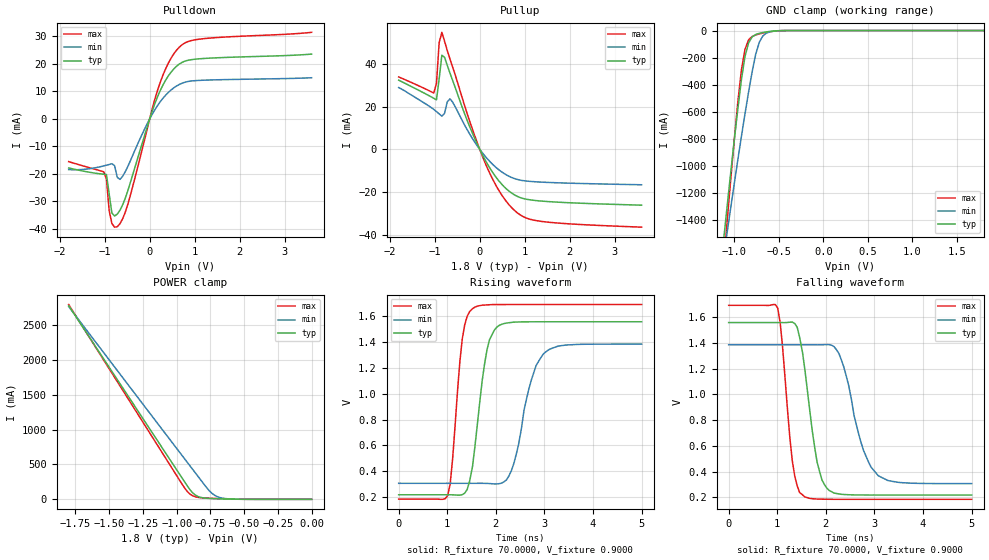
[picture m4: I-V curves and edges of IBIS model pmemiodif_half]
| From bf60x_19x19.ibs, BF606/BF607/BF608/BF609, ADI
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[Model]  pmemiodif_half
Model_type I/O
Polarity   Non-Inverting
Enable   Active-Low
Vinl =   0.6500V
Vinh =   1.1500V
Vmeas =  0.9000V
Cref =   5.0000pF
Rref =   70.0000
Vref =   0.9000V
C_comp   3.6776pF   4.0116pF   3.4337pF
[Temperature Range]   25.0000   0.1250k   0.0
[Voltage Range]   1.8000V   1.7000V   1.9000V
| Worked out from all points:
|   slope of the pulldown table from 0 to 0.27 V, typ, clamps not added: 23.5 ohm
|   slope of the pullup table from 0 to 0.27 V, typ, clamps not added: 26.3 ohm
|   GND clamp passes 1 mA (typ) near -0.49 V on its own axis
|   POWER clamp passes 1 mA (typ) near -0.53 V on its own axis
|   rising waveform, R_fixture 70.0000, V_fixture 0.9000: 20-80 % time 259ps typ, 372ps min, 191ps max; typ from 0.219 V to 1.56 V
|   falling waveform, R_fixture 70.0000, V_fixture 0.9000: 20-80 % time 282ps typ, 423ps min, 205ps max; typ from 1.56 V to 0.219 V
[Pulldown]
|Voltage   I(typ)   I(min)   I(max)
-1.8V     -17.81mA   -18.41mA   -15.52mA
-1.02V    -20.11mA   -17.06mA   -19.22mA
-960mV    -20.21mA   -16.82mA   -21.89mA
-900mV    -27.23mA   -16.56mA   -33.34mA
-840mV    -34.19mA   -16.27mA   -37.98mA
-780mV    -35.28mA   -16.95mA   -39.34mA
-720mV    -34.61mA   -21.22mA   -39.18mA
-480mV    -25.84mA   -17.1mA    -30.76mA
240mV     10.49mA    6.366mA    13.54mA
660mV     19.98mA    12.56mA    26.12mA
1.2V      21.99mA    14.1mA     29.2mA
3.6V      23.58mA    14.99mA    31.51mA
[Pullup]
|Voltage   I(typ)   I(min)   I(max)
-1.8V     32.34mA    28.88mA    33.85mA
-1.02V    23.85mA    18.64mA    26.32mA
-960mV    23.13mA    17.63mA    30.81mA
-900mV    32.98mA    16.53mA    49.91mA
-840mV    44.01mA    15.49mA    54.74mA
-660mV    35.66mA    23.59mA    42.27mA
-240mV    11.52mA    7.772mA    14.28mA
120mV     -4.955mA   -3.244mA   -6.328mA
420mV     -14.66mA   -9.536mA   -19.06mA
720mV     -20.68mA   -13.33mA   -27.57mA
1.32V     -24.2mA    -15.36mA   -33.65mA
3.6V      -26.22mA   -16.66mA   -36.51mA
[GND_clamp]
|Voltage   I(typ)   I(min)   I(max)
-1.8V     -6.07A     -4.897A    -7.407A
-1.12V    -1.546A    -1.671A    -1.719A
-1.08V    -1.294A    -1.488A    -1.405A
-1V       -805.7mA   -1.129A    -801.4mA
-960mV    -575.4mA   -952.7mA   -523.3mA
-920mV    -361.5mA   -780.6mA   -288.5mA
-880mV    -190.9mA   -613.7mA   -138.4mA
-840mV    -90.95mA   -454mA     -68.74mA
-800mV    -46.75mA   -305.2mA   -44mA
-720mV    -20.71mA   -87mA      -25.14mA
-600mV    -6.431mA   -9.607mA   -8.762mA
1.8V      90.74pA    38.42nA    69.76pA
[POWER_clamp]
|Voltage   I(typ)   I(min)   I(max)
-1.8V     2.775A     2.761A     2.791A
-960mV    306.4mA    628.6mA    218.5mA
-920mV    189.6mA    527.3mA    109.9mA
-900mV    135.2mA    476.7mA    73.19mA
-880mV    91.17mA    426mA      49.38mA
-840mV    39.16mA    324.6mA    27.86mA
-760mV    13.35mA    127mA      16mA
-720mV    9.728mA    59.79mA    12.42mA
-680mV    7.061mA    25.52mA    9.287mA
-540mV    1.16mA     1.976mA    1.701mA
0V        90.74pA    3.819nA    81.5pA
[Ramp]
| variable   typ   min   max
dV/dt_r  0.6316/0.3177n   0.4413/0.4751n   0.7626/0.2331n
dV/dt_f  0.6257/0.3957n   0.4176/0.5482n   0.7653/0.2944n
R_load = 50.0000
[Rising Waveform]
R_fixture= 70.0000
V_fixture= 0.9000
V_fixture_min= 0.8500
V_fixture_max= 0.9500
L_fixture= 0.0H
C_fixture= 0.0F
|time   V(typ)   V(min)   V(max)
0s        218.7mV    307.3mV    185.4mV
1.01ns    218.8mV    307.3mV    214.1mV
1.31ns    219.9mV    307.3mV    1.427V
1.52ns    438.4mV    307.3mV    1.658V
1.82ns    1.344V     306.6mV    1.688V
2.02ns    1.515V     302.9mV    1.69V
2.32ns    1.552V     404.9mV    1.69V
2.68ns    1.557V     1.038V     1.69V
2.98ns    1.557V     1.31V      1.691V
5ns       1.557V     1.384V     1.691V
[Falling Waveform]
R_fixture= 70.0000
V_fixture= 0.9000
V_fixture_min= 0.8500
V_fixture_max= 0.9500
L_fixture= 0.0H
C_fixture= 0.0F
|time   V(typ)   V(min)   V(max)
0s        1.557V     1.385V     1.691V
1.01ns    1.557V     1.384V     1.668V
1.31ns    1.56V      1.385V     482mV
1.57ns    1.187V     1.385V     203.8mV
1.82ns    474.3mV    1.384V     187.8mV
2.07ns    254mV      1.385V     185.9mV
2.32ns    224.3mV    1.266V     185.5mV
2.73ns    219.2mV    619.4mV    185.4mV
3.08ns    218.8mV    368.4mV    185.4mV
5ns       218.7mV    307.3mV    185.4mV
